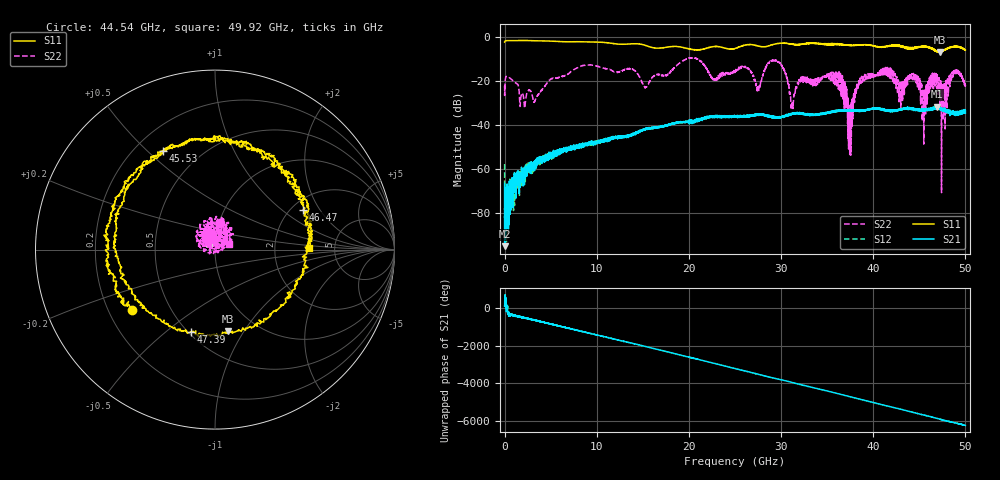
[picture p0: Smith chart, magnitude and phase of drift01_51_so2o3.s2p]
!Created with skrf (http://scikit-rf.org).
# Hz S RI R 50.0
!freq ReS11 ImS11 ReS21 ImS21 ReS12 ImS12 ReS22 ImS22
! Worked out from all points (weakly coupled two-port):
!   10001 points, 300 kHz to 50 GHz, reference 50 ohm
!   highest |S21| = -31.41 dB at 46.9 GHz (marker M1); lowest = -94.9 dB at 10.3 MHz (marker M2)
!   lowest |S11| = -6.7 dB at 47.21 GHz (marker M3), VSWR 2.71, Z = 36.9 - j42.7 ohm
!   |S11| at or under -10 dB: nowhere
!   |S22| runs from -70.5 to -9.2 dB; largest |S21 - S12| = 0.0036
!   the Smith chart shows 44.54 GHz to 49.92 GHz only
!   S11 on the Smith chart (normalised r, x): 44.54 GHz: 0.30, -0.30; 45.53 GHz: 0.31, +0.56; 46.47 GHz: 2.30, +1.44; 47.39 GHz: 0.51, -0.61; 49.92 GHz: 3.22, +0.10
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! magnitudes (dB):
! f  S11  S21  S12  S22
! 300 kHz  -2.1  -66.3  -57.6  -21.9
! 10.3 MHz  -2.1  -94.9  -75.0  -25.7
! 3.29 GHz  -1.5  -58.4  -59.0  -28.9
! 8.335 GHz  -2.0  -49.2  -49.3  -12.9
! 16.67 GHz  -4.9  -40.9  -40.7  -16.6
! 25 GHz  -5.0  -36.0  -35.9  -15.7
! 27.5 GHz  -3.8  -35.0  -35.1  -22.8
! 29.59 GHz  -2.8  -36.4  -36.7  -10.6
! 31.25 GHz  -3.1  -34.4  -34.7  -31.0
! 33.34 GHz  -2.6  -35.1  -35.2  -20.4
! 36.22 GHz  -3.2  -33.2  -33.4  -20.5
! 37.52 GHz  -3.6  -33.3  -33.2  -44.7
! 38.63 GHz  -3.4  -33.2  -33.3  -20.1
! 41.67 GHz  -3.9  -33.1  -33.3  -15.1
! 44.54 GHz  -4.8  -32.7  -32.7  -16.6
! 45.53 GHz  -4.1  -33.1  -33.1  -30.1
! 46.47 GHz  -5.4  -33.0  -32.5  -17.1
! 46.9 GHz  -6.3  -31.4  -31.8  -22.1
! 47.21 GHz  -6.7  -31.8  -32.1  -27.0
! 47.39 GHz  -6.4  -32.3  -32.6  -33.8
! 49.92 GHz  -5.6  -33.8  -33.5  -21.7
! 50 GHz  -5.7  -34.4  -34.2  -21.6
